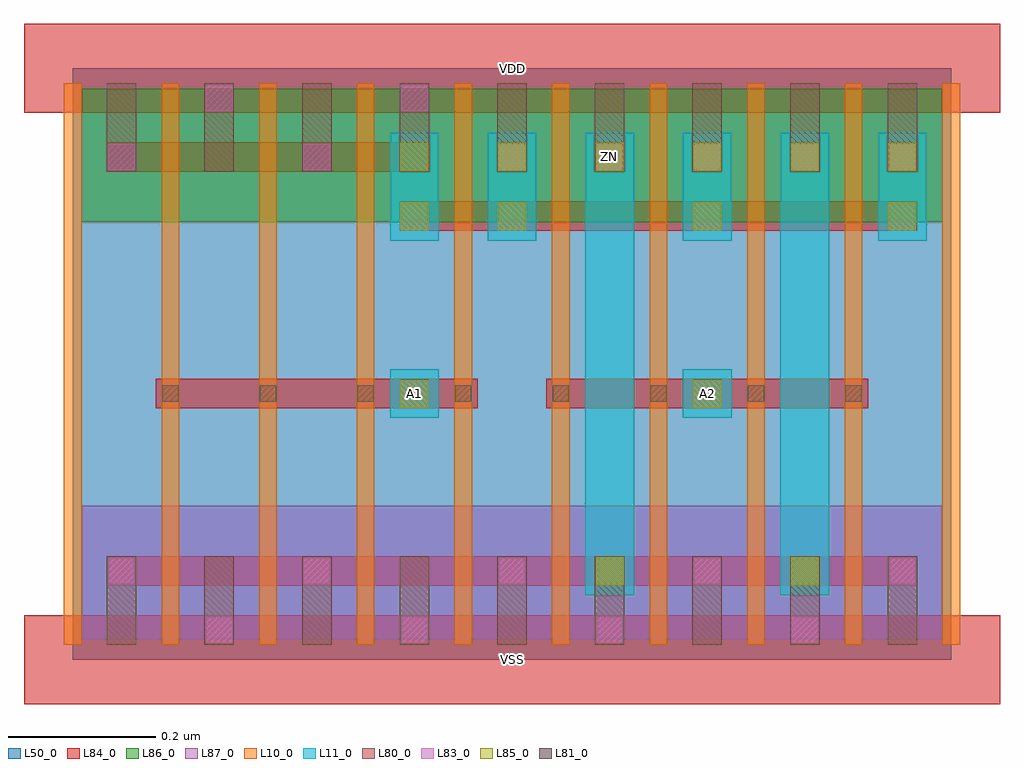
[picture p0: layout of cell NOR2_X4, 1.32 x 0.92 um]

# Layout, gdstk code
import gdstk
lib = gdstk.Library(unit=1e-6, precision=1e-09)
def R(c, l, rs):  # rectangles x0, y0, x1, y1
    for r in rs: c.add(gdstk.rectangle(r[:2], r[2:], *l))
def A(c, l, x, y, w, h, nx, ny, dx, dy):  # array of equal rectangles
    R(c, l, [(x+i*dx, y+j*dy, x+i*dx+w, y+j*dy+h) for i in range(nx) for j in range(ny)])
L10_0 = (10, 0)
L11_0 = (11, 0)
L50_0 = (50, 0)
L80_0 = (80, 0)
L81_0 = (81, 0)
L83_0 = (83, 0)
L84_0 = (84, 0)
L85_0 = (85, 0)
L86_0 = (86, 0)
L87_0 = (87, 0)

nor2_x4 = lib.new_cell('NOR2_X4')
A(nor2_x4, L10_0, -0.012, 0.02, 0.024, 0.76, 10, 1, 0.132, 0)
A(nor2_x4, L11_0, 0.561, 0.567, 0.066, 0.146, 3, 1, 0.264, 0)
R(nor2_x4, L11_0, [(0.693,0.087,0.759,0.713), (0.957,0.087,1.023,0.713), (0.429,0.327,0.495,0.393), (0.825,0.327,0.891,0.393), (0.429,0.567,0.495,0.713)])
R(nor2_x4, L50_0, [(0,0,1.188,0.8)])
A(nor2_x4, L80_0, 0.046, 0.02, 0.04, 0.12, 9, 2, 0.132, 0.64)
A(nor2_x4, L81_0, 0.121, 0.349, 0.022, 0.022, 8, 1, 0.132, 0)
A(nor2_x4, L83_0, 0.18, 0.022, 0.036, 0.036, 4, 1, 0.264, 0)
A(nor2_x4, L83_0, 0.048, 0.102, 0.036, 0.036, 5, 1, 0.264, 0)
A(nor2_x4, L83_0, 0.048, 0.662, 0.036, 0.036, 3, 1, 0.264, 0)
A(nor2_x4, L83_0, 0.708, 0.662, 0.036, 0.036, 4, 1, 0.132, 0)
R(nor2_x4, L83_0, [(0.18,0.742,0.216,0.778), (0.444,0.742,0.48,0.778)])
A(nor2_x4, L84_0, 0.574, 0.66, 0.04, 0.04, 5, 1, 0.132, 0)
R(nor2_x4, L84_0, [(-0.066,-0.06,1.254,0.06), (0.046,0.1,1.142,0.14), (0.112,0.34,0.548,0.38), (0.64,0.34,1.076,0.38), (0.442,0.58,1.142,0.62), (0.046,0.66,0.482,0.7), (-0.066,0.74,1.254,0.86)])
A(nor2_x4, L85_0, 0.575, 0.581, 0.038, 0.038, 3, 1, 0.264, 0)
A(nor2_x4, L85_0, 0.443, 0.661, 0.038, 0.038, 6, 1, 0.132, 0)
R(nor2_x4, L85_0, [(0.707,0.101,0.745,0.139), (0.971,0.101,1.009,0.139), (0.443,0.341,0.481,0.379), (0.839,0.341,0.877,0.379), (0.443,0.581,0.481,0.619)])
R(nor2_x4, L86_0, [(0.012,0.592,1.176,0.772)])
R(nor2_x4, L87_0, [(0.012,0.028,1.176,0.208)])
nor2_x4.add(gdstk.Label('VDD', (0.594,0.8), layer=88, texttype=0))
nor2_x4.add(gdstk.Label('VSS', (0.594,0), layer=88, texttype=0))
nor2_x4.add(gdstk.Label('ZN', (0.726,0.68), layer=31, texttype=0))
nor2_x4.add(gdstk.Label('A1', (0.462,0.36), layer=31, texttype=0))
nor2_x4.add(gdstk.Label('A2', (0.858,0.36), layer=31, texttype=0))

lib.write_gds('NOR2_X4.gds')
